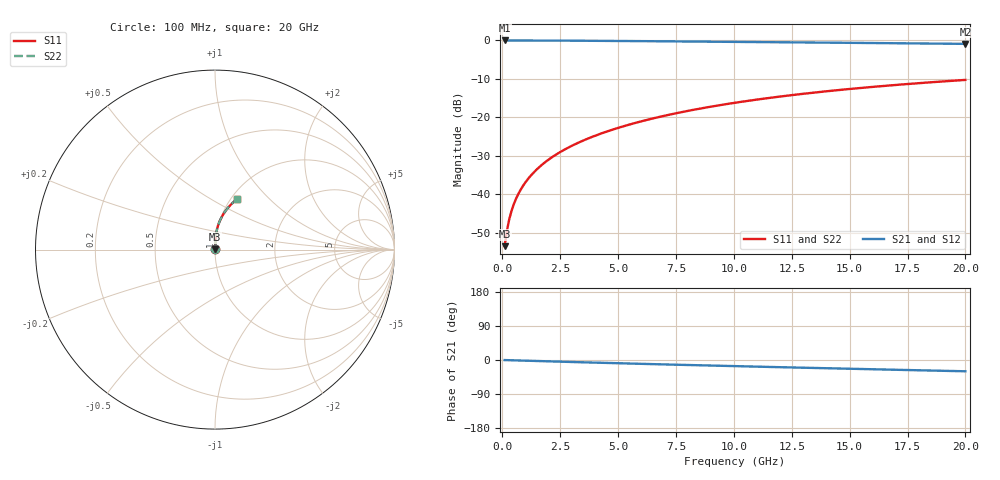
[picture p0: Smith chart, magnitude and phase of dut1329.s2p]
! Touchstone file exported from HFSS 2024.1.0
!  File:  C:/UserFiles/LocalFiles/RDL_TSV_Batchsim/temp_RDL_top_1329_1780365322.aedt
!  Generated:  09:57:47 AM Jun  2, 2026
!  Design:  RDL_top
!  Project:  temp_RDL_top_1329_1780365322
!  Setup:  Setup1
!  Solution:  Sweep
! Variables:
!  dtsv = 10.80580581um
!  hbump = 3um
!  htsv = 58.86um
!  ldown = 100um
!  lrdl = 393.88um
!  p = 40
!  p1 = 56.11um
!  rhole = 1um
!  t = 450um
!  tdown = 3.915915916um
!  trdl = 4.74um
!  wdown = 15.38538539um
!  wrdl = 22.33um
# GHz S MA R 50.000000
! Terminal data exported
! Port[1] = Box2_T1
! Port[2] = Box2_T2
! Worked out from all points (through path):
!   200 points, 100 MHz to 20 GHz, reference 50 ohm
!   highest |S21| = -0.01 dB at 100 MHz (marker M1); lowest = -0.9 dB at 20 GHz (marker M2)
!   group delay of S21, straight-line fit = 4.09 ps
!   lowest |S11| = -53.5 dB at 100 MHz (marker M3), VSWR 1.00, Z = 50.1 + j0.151 ohm
!   |S11| at or under -10 dB: start of sweep to end of sweep
!   |S22| runs from -53.5 to -10.3 dB; largest |S21 - S12| = 4.2e-15
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0.1  0.002109 45.5  0.9985 -0.2  0.9985 -0.2  0.002109 45.5
! Gamma 0 0 0 0
! Port Impedance 50 0 50 0
0.2  0.003357 62.7  0.9984 -0.4  0.9984 -0.4  0.003357 62.7
0.3  0.004715 69.9  0.9983 -0.5  0.9983 -0.5  0.004716 70.0
0.4  0.006086 73.8  0.9982 -0.7  0.9982 -0.7  0.006087 73.8
0.5  0.007452 76.3  0.9981 -0.9  0.9981 -0.9  0.007454 76.3
0.7  0.01017 79.4  0.9978 -1.3  0.9978 -1.3  0.01018 79.4
0.8  0.01153 80.5  0.9977 -1.4  0.9977 -1.4  0.01154 80.5
1  0.01426 82.1  0.9974 -1.8  0.9974 -1.8  0.01427 82.1
1.2  0.01701 83.3  0.9971 -2.1  0.9971 -2.1  0.01702 83.3
1.4  0.01978 84.2  0.9967 -2.5  0.9967 -2.5  0.01978 84.2
1.7  0.02396 85.1  0.9961 -3.0  0.9961 -3.0  0.02396 85.1
2  0.02818 85.8  0.9953 -3.5  0.9953 -3.5  0.02819 85.8
2.7  0.0382 86.7  0.9932 -4.8  0.9932 -4.8  0.03821 86.7
3.5  0.04995 87.0  0.9902 -6.1  0.9902 -6.1  0.04995 87.0
4.2  0.06049 87.0  0.9872 -7.3  0.9872 -7.3  0.06049 87.0
5  0.07281 86.7  0.9835 -8.6  0.9835 -8.6  0.07282 86.7
6.8  0.1014 85.3  0.9744 -11.4  0.9744 -11.4  0.1014 85.2
8.4  0.1275 83.4  0.966 -13.8  0.966 -13.8  0.1275 83.4
10.1  0.1554 81.1  0.9569 -16.3  0.9569 -16.3  0.1554 81.1
13.4  0.2086 76.2  0.939 -20.9  0.939 -20.9  0.2086 76.2
16.7  0.2592 71.3  0.9206 -25.4  0.9206 -25.4  0.2592 71.2
20  0.3063 66.5  0.9015 -29.8  0.9015 -29.8  0.3063 66.4
